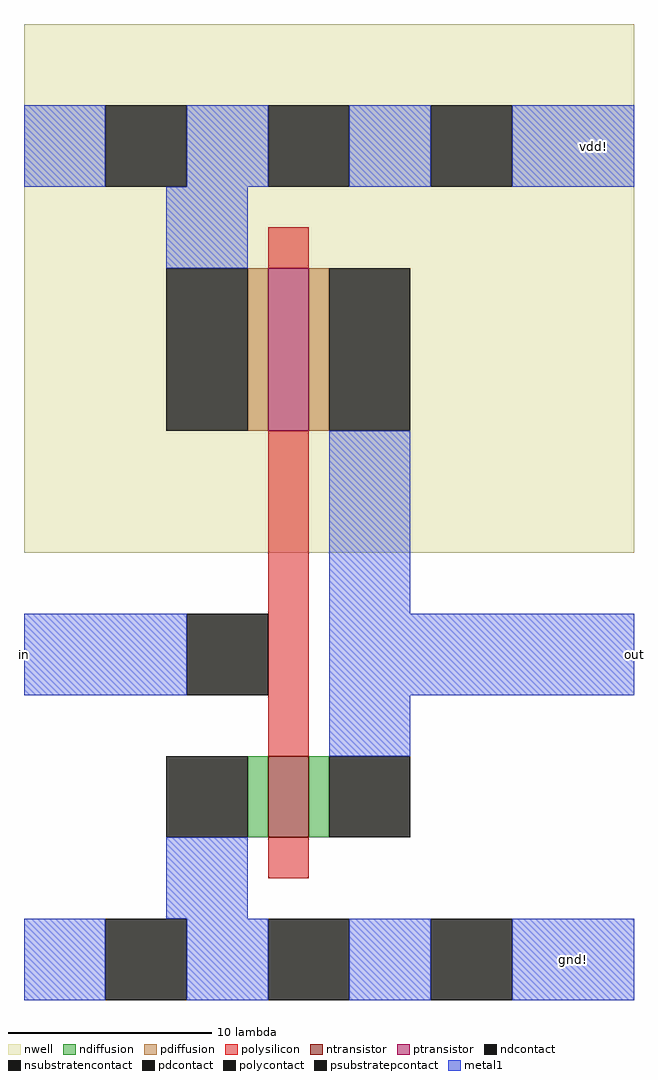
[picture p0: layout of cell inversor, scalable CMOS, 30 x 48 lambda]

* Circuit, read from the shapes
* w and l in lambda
.subckt inversor gnd! in out vdd!
M1 out in gnd! gnd! nfet w=4 l=2
M2 out in vdd! vdd! pfet w=8 l=2
.ends

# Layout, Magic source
magic
tech scmos
<< nwell >>
rect 3 0 33 26
<< polysilicon >>
rect 15 14 17 16
rect 15 -10 17 6
rect 15 -16 17 -14
<< ndiffusion >>
rect 14 -14 15 -10
rect 17 -14 18 -10
<< pdiffusion >>
rect 14 6 15 14
rect 17 6 18 14
<< metal1 >>
rect 3 18 7 22
rect 11 18 15 22
rect 19 18 23 22
rect 27 18 33 22
rect 10 14 14 18
rect 18 -3 22 6
rect 3 -7 11 -3
rect 18 -7 33 -3
rect 18 -10 22 -7
rect 10 -18 14 -14
rect 3 -22 7 -18
rect 11 -22 15 -18
rect 19 -22 23 -18
rect 27 -22 33 -18
<< ntransistor >>
rect 15 -14 17 -10
<< ptransistor >>
rect 15 6 17 14
<< polycontact >>
rect 11 -7 15 -3
<< ndcontact >>
rect 10 -14 14 -10
rect 18 -14 22 -10
<< pdcontact >>
rect 10 6 14 14
rect 18 6 22 14
<< psubstratepcontact >>
rect 7 -22 11 -18
rect 15 -22 19 -18
rect 23 -22 27 -18
<< nsubstratencontact >>
rect 7 18 11 22
rect 15 18 19 22
rect 23 18 27 22
<< labels >>
rlabel metal1 31 20 31 20 7 vdd!
rlabel metal1 30 -20 30 -20 8 gnd!
rlabel metal1 3 -7 3 -3 3 in
rlabel metal1 33 -7 33 -3 7 out
<< end >>
